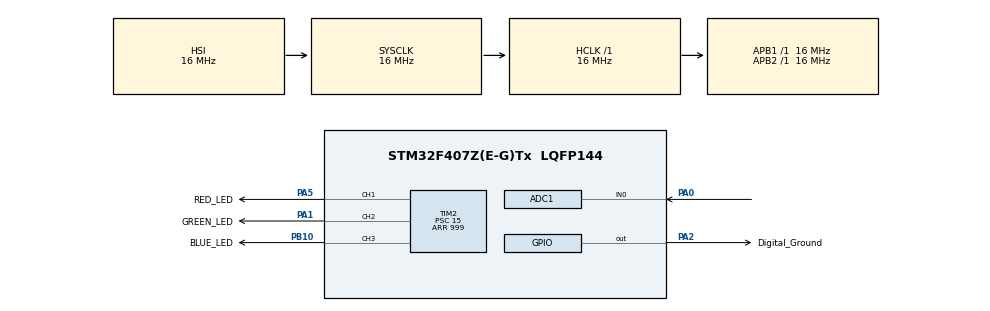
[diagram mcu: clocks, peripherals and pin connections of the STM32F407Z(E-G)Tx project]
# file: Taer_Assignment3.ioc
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ADC1.Channel-2\#ChannelRegularConversion=ADC_CHANNEL_0
ADC1.ClockPrescaler=ADC_CLOCK_SYNC_PCLK_DIV8
ADC1.NbrOfConversionFlag=1
ADC1.Rank-2\#ChannelRegularConversion=1
ADC1.SamplingTime-2\#ChannelRegularConversion=ADC_SAMPLETIME_480CYCLES
ADC1.master=1
Mcu.Family=STM32F4
Mcu.Name=STM32F407Z(E-G)Tx
Mcu.Package=LQFP144
NVIC.PriorityGroup=NVIC_PRIORITYGROUP_4
PA0-WKUP.Signal=ADCx_IN0
PA1.GPIO_Label=GREEN_LED
PA1.Signal=S_TIM2_CH2
PA2.GPIO_Label=Digital_Ground
PA2.GPIO_ModeDefaultOutputPP=GPIO_MODE_OUTPUT_OD
PA2.GPIO_PuPd=GPIO_NOPULL
PA2.Signal=GPIO_Output
PA5.GPIO_Label=RED_LED
PA5.Signal=S_TIM2_CH1_ETR
PB10.GPIO_Label=BLUE_LED
PB10.Signal=S_TIM2_CH3
ProjectManager.HeapSize=0x200
ProjectManager.StackSize=0x400
ProjectManager.TargetToolchain=STM32CubeIDE
RCC.AHBFreq_Value=16000000
RCC.APB1Freq_Value=16000000
RCC.APB2Freq_Value=16000000
RCC.CortexFreq_Value=16000000
RCC.HSE_VALUE=25000000
RCC.HSI_VALUE=16000000
RCC.LSE_VALUE=32768
RCC.SYSCLKFreq_VALUE=16000000
RCC.VCOOutputFreq_Value=192000000
SH.ADCx_IN0.0=ADC1_IN0,IN0
SH.S_TIM2_CH1_ETR.0=TIM2_CH1,PWM Generation1 CH1
SH.S_TIM2_CH2.0=TIM2_CH2,PWM Generation2 CH2
SH.S_TIM2_CH3.0=TIM2_CH3,PWM Generation3 CH3
TIM2.Channel-PWM\ Generation1\ CH1=TIM_CHANNEL_1
TIM2.Channel-PWM\ Generation2\ CH2=TIM_CHANNEL_2
TIM2.Channel-PWM\ Generation3\ CH3=TIM_CHANNEL_3
TIM2.Period=999
TIM2.Prescaler=15
VP_TIM2_VS_ClockSourceINT.Mode=Internal
board=custom

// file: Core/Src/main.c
/* USER CODE BEGIN Header */
/**
  ******************************************************************************
  * @file           : main.c
  * @brief          : Main program body
  ******************************************************************************
  * @attention
  *
  * Copyright (c) 2026 STMicroelectronics.
  * All rights reserved.
  *
  * This software is licensed under terms that can be found in the LICENSE file
  * in the root directory of this software component.
  * If no LICENSE file comes with this software, it is provided AS-IS.
  *
  ******************************************************************************
  */
/* USER CODE END Header */
#include "main.h"

ADC_HandleTypeDef hadc1;

TIM_HandleTypeDef htim2;

/* USER CODE BEGIN PV */
float voltageReading = 0;
/* USER CODE END PV */

void SystemClock_Config(void);
static void MX_GPIO_Init(void);
static void MX_ADC1_Init(void);
static void MX_TIM2_Init(void);

/* USER CODE BEGIN 0 */
void IRSensor(void) {
	HAL_ADC_Start(&hadc1);
	HAL_ADC_PollForConversion(&hadc1, 1);

	//HAL_GPIO_TogglePin(GPIOA, GPIO_PIN_2);
	voltageReading = HAL_ADC_GetValue(&hadc1);
	voltageReading = (voltageReading * 3.3) / 4095.0;

	/*
		Channel1 = RED_LED
		Channel2 = GREEN_LED
		Channel3 = BLUE_LED
		Timer2, 1kHz Frequency, 16MHz Bus Frequency, 15 PSC, 999 ARR

		20cm = 1.190V
		16cm = 1.20V
		12cm = 1.280V
		8cm = 1.340V
		4cm = 2.00V
		0cm = ???
	*/
	if (voltageReading >= 3.10) {
		// Green (Far away: greater than 20cm / below 1.19V)
		__HAL_TIM_SET_COMPARE(&htim2, TIM_CHANNEL_1, 0);   // R
		__HAL_TIM_SET_COMPARE(&htim2, TIM_CHANNEL_2, 999); // G
		__HAL_TIM_SET_COMPARE(&htim2, TIM_CHANNEL_3, 0);   // B
	}
	else if (voltageReading >= 2.50) {
		// Blue (16cm to 20cm)
		__HAL_TIM_SET_COMPARE(&htim2, TIM_CHANNEL_1, 0);   // R
		__HAL_TIM_SET_COMPARE(&htim2, TIM_CHANNEL_2, 0);   // G
		__HAL_TIM_SET_COMPARE(&htim2, TIM_CHANNEL_3, 999); // B
	}
	else if (voltageReading >= 2.00) {
		// Yellow (12cm to 16cm) -> Red + Green
		__HAL_TIM_SET_COMPARE(&htim2, TIM_CHANNEL_1, 999); // R
		__HAL_TIM_SET_COMPARE(&htim2, TIM_CHANNEL_2, 224); // G
		__HAL_TIM_SET_COMPARE(&htim2, TIM_CHANNEL_3, 0);   // B
	}
	else if (voltageReading >= 1.50) {
		// Red (8cm to 12cm)
		__HAL_TIM_SET_COMPARE(&htim2, TIM_CHANNEL_1, 999); // R
		__HAL_TIM_SET_COMPARE(&htim2, TIM_CHANNEL_2, 0);   // G
		__HAL_TIM_SET_COMPARE(&htim2, TIM_CHANNEL_3, 0);   // B
	}
	else if (voltageReading >= 1.00) {
		// Magenta (4cm to 8cm)
		__HAL_TIM_SET_COMPARE(&htim2, TIM_CHANNEL_1, 999); // R
		__HAL_TIM_SET_COMPARE(&htim2, TIM_CHANNEL_2, 0);   // G
		__HAL_TIM_SET_COMPARE(&htim2, TIM_CHANNEL_3, 699); // B
	}
	else {
		// White (Very Close: 0cm to 4cm)
		__HAL_TIM_SET_COMPARE(&htim2, TIM_CHANNEL_1, 999); // R
		__HAL_TIM_SET_COMPARE(&htim2, TIM_CHANNEL_2, 999); // G
		__HAL_TIM_SET_COMPARE(&htim2, TIM_CHANNEL_3, 999); // B
	}
}
/* USER CODE END 0 */

int main(void)
{

  /* MCU Configuration--------------------------------------------------------*/

  /* Reset of all peripherals, Initializes the Flash interface and the Systick. */
  HAL_Init();

  /* Configure the system clock */
  SystemClock_Config();

  /* Initialize all configured peripherals */
  MX_GPIO_Init();
  MX_ADC1_Init();
  MX_TIM2_Init();
  /* USER CODE BEGIN 2 */
  HAL_TIM_PWM_Start(&htim2, TIM_CHANNEL_1);
  HAL_TIM_PWM_Start(&htim2, TIM_CHANNEL_2);
  HAL_TIM_PWM_Start(&htim2, TIM_CHANNEL_3);
  /* USER CODE END 2 */

  /* Infinite loop */
  while (1)
  {

    /* USER CODE BEGIN 3 */
	  IRSensor();
  }
  /* USER CODE END 3 */
}

void SystemClock_Config(void)
{
  RCC_OscInitTypeDef RCC_OscInitStruct = {0};
  RCC_ClkInitTypeDef RCC_ClkInitStruct = {0};

  /** Configure the main internal regulator output voltage
  */
  __HAL_RCC_PWR_CLK_ENABLE();
  __HAL_PWR_VOLTAGESCALING_CONFIG(PWR_REGULATOR_VOLTAGE_SCALE1);

  /** Initializes the RCC Oscillators according to the specified parameters
  * in the RCC_OscInitTypeDef structure.
  */
  RCC_OscInitStruct.OscillatorType = RCC_OSCILLATORTYPE_HSI;
  RCC_OscInitStruct.HSIState = RCC_HSI_ON;
  RCC_OscInitStruct.HSICalibrationValue = RCC_HSICALIBRATION_DEFAULT;
  RCC_OscInitStruct.PLL.PLLState = RCC_PLL_NONE;
  if (HAL_RCC_OscConfig(&RCC_OscInitStruct) != HAL_OK)
  {
    Error_Handler();
  }

  /** Initializes the CPU, AHB and APB buses clocks
  */
  RCC_ClkInitStruct.ClockType = RCC_CLOCKTYPE_HCLK|RCC_CLOCKTYPE_SYSCLK
                              |RCC_CLOCKTYPE_PCLK1|RCC_CLOCKTYPE_PCLK2;
  RCC_ClkInitStruct.SYSCLKSource = RCC_SYSCLKSOURCE_HSI;
  RCC_ClkInitStruct.AHBCLKDivider = RCC_SYSCLK_DIV1;
  RCC_ClkInitStruct.APB1CLKDivider = RCC_HCLK_DIV1;
  RCC_ClkInitStruct.APB2CLKDivider = RCC_HCLK_DIV1;

  if (HAL_RCC_ClockConfig(&RCC_ClkInitStruct, FLASH_LATENCY_0) != HAL_OK)
  {
    Error_Handler();
  }
}

static void MX_ADC1_Init(void)
{

  ADC_ChannelConfTypeDef sConfig = {0};

  /** Configure the global features of the ADC (Clock, Resolution, Data Alignment and number of conversion)
  */
  hadc1.Instance = ADC1;
  hadc1.Init.ClockPrescaler = ADC_CLOCK_SYNC_PCLK_DIV8;
  hadc1.Init.Resolution = ADC_RESOLUTION_12B;
  hadc1.Init.ScanConvMode = DISABLE;
  hadc1.Init.ContinuousConvMode = DISABLE;
  hadc1.Init.DiscontinuousConvMode = DISABLE;
  hadc1.Init.ExternalTrigConvEdge = ADC_EXTERNALTRIGCONVEDGE_NONE;
  hadc1.Init.ExternalTrigConv = ADC_SOFTWARE_START;
  hadc1.Init.DataAlign = ADC_DATAALIGN_RIGHT;
  hadc1.Init.NbrOfConversion = 1;
  hadc1.Init.DMAContinuousRequests = DISABLE;
  hadc1.Init.EOCSelection = ADC_EOC_SINGLE_CONV;
  if (HAL_ADC_Init(&hadc1) != HAL_OK)
  {
    Error_Handler();
  }

  /** Configure for the selected ADC regular channel its corresponding rank in the sequencer and its sample time.
  */
  sConfig.Channel = ADC_CHANNEL_0;
  sConfig.Rank = 1;
  sConfig.SamplingTime = ADC_SAMPLETIME_480CYCLES;
  if (HAL_ADC_ConfigChannel(&hadc1, &sConfig) != HAL_OK)
  {
    Error_Handler();
  }

}

static void MX_TIM2_Init(void)
{

  TIM_ClockConfigTypeDef sClockSourceConfig = {0};
  TIM_MasterConfigTypeDef sMasterConfig = {0};
  TIM_OC_InitTypeDef sConfigOC = {0};

  htim2.Instance = TIM2;
  htim2.Init.Prescaler = 15;
  htim2.Init.CounterMode = TIM_COUNTERMODE_UP;
  htim2.Init.Period = 999;
  htim2.Init.ClockDivision = TIM_CLOCKDIVISION_DIV1;
  htim2.Init.AutoReloadPreload = TIM_AUTORELOAD_PRELOAD_DISABLE;
  if (HAL_TIM_Base_Init(&htim2) != HAL_OK)
  {
    Error_Handler();
  }
  sClockSourceConfig.ClockSource = TIM_CLOCKSOURCE_INTERNAL;
  if (HAL_TIM_ConfigClockSource(&htim2, &sClockSourceConfig) != HAL_OK)
  {
    Error_Handler();
  }
  if (HAL_TIM_PWM_Init(&htim2) != HAL_OK)
  {
    Error_Handler();
  }
  sMasterConfig.MasterOutputTrigger = TIM_TRGO_RESET;
  sMasterConfig.MasterSlaveMode = TIM_MASTERSLAVEMODE_DISABLE;
  if (HAL_TIMEx_MasterConfigSynchronization(&htim2, &sMasterConfig) != HAL_OK)
  {
    Error_Handler();
  }
  sConfigOC.OCMode = TIM_OCMODE_PWM1;
  sConfigOC.Pulse = 0;
  sConfigOC.OCPolarity = TIM_OCPOLARITY_HIGH;
  sConfigOC.OCFastMode = TIM_OCFAST_DISABLE;
  if (HAL_TIM_PWM_ConfigChannel(&htim2, &sConfigOC, TIM_CHANNEL_1) != HAL_OK)
  {
    Error_Handler();
  }
  if (HAL_TIM_PWM_ConfigChannel(&htim2, &sConfigOC, TIM_CHANNEL_2) != HAL_OK)
  {
    Error_Handler();
  }
  if (HAL_TIM_PWM_ConfigChannel(&htim2, &sConfigOC, TIM_CHANNEL_3) != HAL_OK)
  {
    Error_Handler();
  }
  HAL_TIM_MspPostInit(&htim2);

}

static void MX_GPIO_Init(void)
{
  GPIO_InitTypeDef GPIO_InitStruct = {0};

  /* GPIO Ports Clock Enable */
  __HAL_RCC_GPIOA_CLK_ENABLE();
  __HAL_RCC_GPIOB_CLK_ENABLE();

  /*Configure GPIO pin Output Level */
  HAL_GPIO_WritePin(Digital_Ground_GPIO_Port, Digital_Ground_Pin, GPIO_PIN_RESET);

  /*Configure GPIO pin : Digital_Ground_Pin */
  GPIO_InitStruct.Pin = Digital_Ground_Pin;
  GPIO_InitStruct.Mode = GPIO_MODE_OUTPUT_OD;
  GPIO_InitStruct.Pull = GPIO_NOPULL;
  GPIO_InitStruct.Speed = GPIO_SPEED_FREQ_LOW;
  HAL_GPIO_Init(Digital_Ground_GPIO_Port, &GPIO_InitStruct);

}

void Error_Handler(void)
{
  __disable_irq();
  while (1)
  {
  }
}
